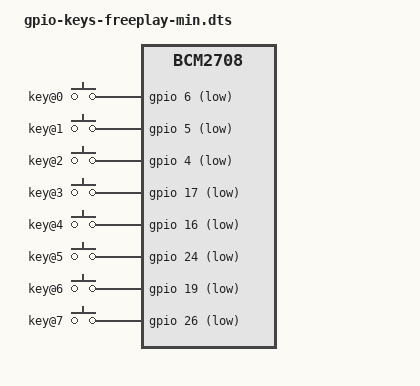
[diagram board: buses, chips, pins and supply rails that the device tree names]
// Definitions for Freeplay Zero/CM3 gpio-keys
/dts-v1/;
/plugin/;

/ {
	compatible = "brcm,bcm2708";

	fragment@0 {
		// Configure the gpio pin controller
		target = <&gpio>;
		__overlay__ {
			pin_state: button_pins@0 {
				brcm,pins =     <6 5 4 17 16 24 19 26>; // gpio number
				brcm,function = <0 0 0  0  0  0  0  0>; // 0 = input, 1 = output
				brcm,pull =     <2 2 2  2  2  2  2  2>; // 0 = none, 1 = pull down, 2 = pull up
			};
		};
	};
	fragment@1 {
		target-path = "/";
		__overlay__ {
			button: button@0 {
				compatible = "gpio-keys";
				pinctrl-names = "default";
				pinctrl-0 = <&pin_state>;
				status = "okay";

				key@0 { //dpad-l
					linux,code = <105>;  //KEY_LEFT
					gpios = <&gpio 6 1>;
				};
				key@1 { //dpad-r
					linux,code = <106>;  //KEY_RIGHT
					gpios = <&gpio 5 1>;
				};
				key@2 { //dpad-u
					linux,code = <103>;  //KEY_UP
					gpios = <&gpio 4 1>;
				};				
				key@3 { //dpad-d
					linux,code = <108>;  //KEY_DOWN
					gpios = <&gpio 17 1>;
				};	
				
				key@4 { //btn-a
					linux,code = <30>;	//KEY_A
					gpios = <&gpio 16 1>;
				};				
				key@5 { //btn-b
					linux,code = <31>;	//KEY_S
					gpios = <&gpio 24 1>;
				};		
				
				key@6 {
					linux,code = <28>;	//KEY_ENTER
					gpios = <&gpio 19 1>;
				};
				key@7 {
					linux,code = <57>;	//KEY_SPACE
					gpios = <&gpio 26 1>;
				};							
				
/*
				key@8 { //btn-x
					linux,code = <45>;	//KEY_X
					gpios = <&gpio 15 1>;
				};	
				key@9 { //btn-y
					linux,code = <21>;	//KEY_Y
					gpios = <&gpio 18 1>;
				};	
					
				
				
				key@20 { //shoulder-l
					linux,code = <38>;
					gpios = <&gpio 14 1>;
					label = "KEY_L";
				};
				key@21 { //shoulder-r
					linux,code = <19>; 
					gpios = <&gpio 23 1>;
					label = "KEY_R";
				};
*/							
			};
		};
	};

/*
	__overrides__ {
		gpio =       <&key>,"gpios:4",
		             <&button>,"reg:0",
		             <&pin_state>,"brcm,pins:0",
		             <&pin_state>,"reg:0";
		label =      <&key>,"label";
		keycode =    <&key>,"linux,code:0";
		gpio_pull =  <&pin_state>,"brcm,pull:0";
		active_low = <&key>,"gpios:8";
	};
*/
};
